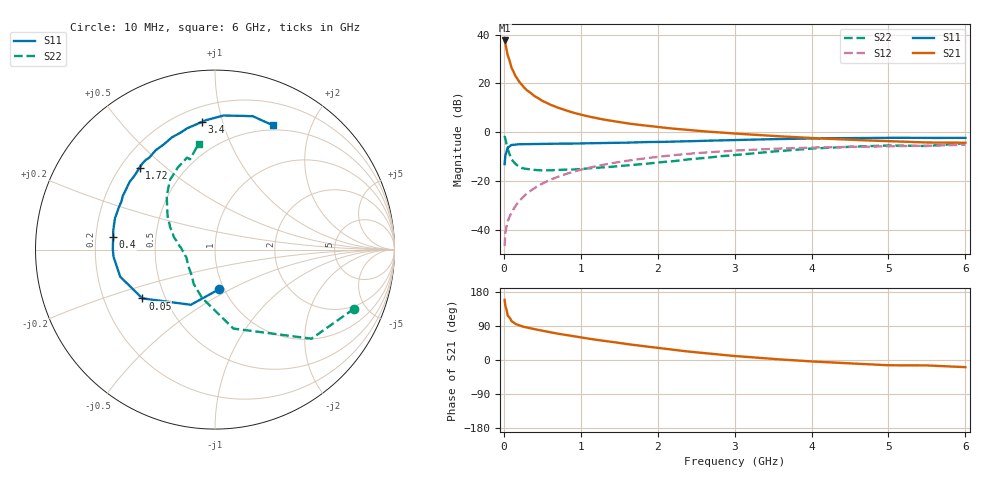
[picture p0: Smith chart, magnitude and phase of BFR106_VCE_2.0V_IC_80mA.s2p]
! Infineon Technologies  Discrete & RF Semiconductors
! BFR106
! VCE =  2.0 V,  IC =  80 mA
! Common Emitter S-Parameters:  Nov 2015
# GHz  S  MA  R  50
!  f  S11  S21  S12  S22
! GHz  MAG  ANG  MAG  ANG  MAG  ANG  MAG  ANG
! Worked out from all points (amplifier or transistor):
!   210 points, 10 MHz to 6 GHz, reference 50 ohm
!   highest |S21| = 37.7 dB at 10 MHz (marker M1)
!   |S21| within 3 dB of that: start of sweep to 30.71 MHz
!   unconditionally stable (mu >= 1): 174.3 MHz to 2.945 GHz; 4.552 GHz to end of sweep
!   at 185 MHz: K = 1.01, MAG = 24.6 dB, |S12| = -28.8 dB
!   at 1.52 GHz: K = 1.06, MAG = 6.5 dB, |S12| = -12.1 dB
!   at 6 GHz: K = 1.02, MAG = -0.4 dB, |S12| = -5.1 dB
!   S11 on the Smith chart (normalised r, x): 10 MHz: 0.95, -0.44; 50 MHz: 0.37, -0.27; 400 MHz: 0.27, +0.06; 1.72 GHz: 0.28, +0.41; 3.4 GHz: 0.29, +0.86; 6 GHz: 0.44, +1.48
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0.01  0.2218 -83.9  76.33 158.6  0.0046 77.0  0.8424 -23.0
0.02  0.3355 -113.6  64.5 142.3  0.0086 68.1  0.7318 -42.7
0.05  0.4874 -146.1  38 117.0  0.0149 60.1  0.4517 -76.9
0.1  0.5492 -164.0  20.98 102.2  0.0224 63.2  0.2784 -105.0
0.15  0.5583 -171.8  14.26 95.3  0.0303 68.6  0.2252 -121.8
0.2  0.5671 -176.1  10.85 91.2  0.0386 70.4  0.1947 -131.6
0.24  0.5689 -179.2  9.102 88.7  0.0451 71.6  0.1835 -139.1
0.26  0.5695 179.6  8.387 87.5  0.0484 72.0  0.1802 -142.1
0.3  0.5693 177.8  7.265 85.5  0.0551 72.7  0.1767 -146.4
0.4  0.5712 173.0  5.493 81.1  0.0716 72.8  0.1686 -155.5
0.5  0.5765 169.7  4.416 77.2  0.0881 72.3  0.1653 -161.5
0.6  0.5801 165.7  3.705 73.3  0.1049 71.5  0.1654 -164.9
0.8  0.583 159.6  2.817 66.3  0.1378 68.7  0.1709 -172.0
1.02  0.5874 152.3  2.257 59.1  0.1731 65.4  0.1769 -176.8
1.3  0.6019 144.1  1.818 50.5  0.2163 60.6  0.1896 176.8
1.72  0.6207 132.6  1.441 38.9  0.2759 53.5  0.2158 168.3
2.02  0.6314 125.0  1.27 31.4  0.3157 48.2  0.2415 162.3
3.1  0.6975 101.2  0.92 9.1  0.4274 30.0  0.351 139.3
3.4  0.715 95.9  0.859 4.3  0.4508 25.3  0.3885 133.7
4.1  0.7496 85.1  0.748 -4.8  0.4882 15.0  0.4699 121.0
5.1  0.7702 73.0  0.648 -14.0  0.518 3.3  0.5328 106.6
6  0.7654 65.0  0.609 -18.9  0.5537 -5.6  0.596 98.8
